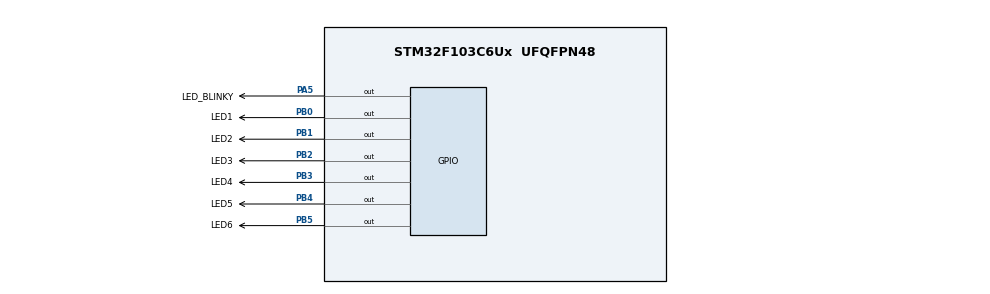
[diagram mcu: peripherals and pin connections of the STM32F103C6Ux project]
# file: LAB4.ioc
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Mcu.Family=STM32F1
Mcu.Name=STM32F103C6Ux
Mcu.Package=UFQFPN48
NVIC.PriorityGroup=NVIC_PRIORITYGROUP_4
NVIC.TIM2_IRQn=true\:0\:0\:false\:false\:true\:true\:true
PA5.GPIO_Label=LED_BLINKY
PA5.Signal=GPIO_Output
PB0.GPIO_Label=LED1
PB0.Signal=GPIO_Output
PB1.GPIO_Label=LED2
PB1.Signal=GPIO_Output
PB2.GPIO_Label=LED3
PB2.Signal=GPIO_Output
PB3.GPIO_Label=LED4
PB3.Signal=GPIO_Output
PB4.GPIO_Label=LED5
PB4.Signal=GPIO_Output
PB5.GPIO_Label=LED6
PB5.Signal=GPIO_Output
ProjectManager.HeapSize=0x200
ProjectManager.StackSize=0x400
ProjectManager.TargetToolchain=STM32CubeIDE
RCC.APB1Freq_Value=8000000
RCC.APB2Freq_Value=8000000
TIM2.Period=9
TIM2.Prescaler=7999
VP_SYS_VS_ND.Mode=No_Debug
VP_TIM2_VS_ClockSourceINT.Mode=Internal
board=custom

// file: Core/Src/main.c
/* USER CODE BEGIN Header */
/**
  ******************************************************************************
  * @file           : main.c
  * @brief          : Main program body
  ******************************************************************************
  * @attention
  *
  * <h2><center>&copy; Copyright (c) 2025 STMicroelectronics.
  * All rights reserved.</center></h2>
  *
  * This software component is licensed by ST under BSD 3-Clause license,
  * the "License"; You may not use this file except in compliance with the
  * License. You may obtain a copy of the License at:
  *                        opensource.org/licenses/BSD-3-Clause
  *
  ******************************************************************************
  */
/* USER CODE END Header */
#include "main.h"

/* USER CODE BEGIN Includes */
#include "scheduler.h"
/* USER CODE END Includes */

TIM_HandleTypeDef htim2;

void SystemClock_Config(void);
static void MX_GPIO_Init(void);
static void MX_TIM2_Init(void);

/* USER CODE BEGIN 0 */
void Task_BlinkyLED(void);
// Problem
void Task_500ms(void);
void Task_1000ms(void);
void Task_1500ms(void);
void Task_2000ms(void);
void Task_2500ms(void);
// Demonstration
void Task_Print_Time_10ms(void);
void One_Shot_Task(void);
/* USER CODE END 0 */

int main(void)
{

  /* MCU Configuration--------------------------------------------------------*/

  /* Reset of all peripherals, Initializes the Flash interface and the Systick. */
  HAL_Init();

  /* Configure the system clock */
  SystemClock_Config();

  /* Initialize all configured peripherals */
  MX_GPIO_Init();
  MX_TIM2_Init();
  /* USER CODE BEGIN 2 */
  SCH_Init();
  HAL_TIM_Base_Start_IT(&htim2);
  /* USER CODE END 2 */

  /* Infinite loop */
  /* USER CODE BEGIN WHILE */
  SCH_Add_Task(Task_BlinkyLED, 50, 50);
  SCH_Add_Task(Task_500ms, 50, 50);     // 0.5s
  SCH_Add_Task(Task_1000ms, 100, 100);  // 1.0s
  SCH_Add_Task(Task_1500ms, 150, 150);  // 1.5s
  SCH_Add_Task(Task_2000ms, 200, 200);  // 2.0s
  SCH_Add_Task(Task_2500ms, 250, 250);  // 2.5s

  SCH_Add_Task(One_Shot_Task, 300, 0);
  while (1)
  {
	  SCH_Dispatch_Tasks();
    /* USER CODE END WHILE */

  }
}

void SystemClock_Config(void)
{
  RCC_OscInitTypeDef RCC_OscInitStruct = {0};
  RCC_ClkInitTypeDef RCC_ClkInitStruct = {0};

  /** Initializes the RCC Oscillators according to the specified parameters
  * in the RCC_OscInitTypeDef structure.
  */
  RCC_OscInitStruct.OscillatorType = RCC_OSCILLATORTYPE_HSI;
  RCC_OscInitStruct.HSIState = RCC_HSI_ON;
  RCC_OscInitStruct.HSICalibrationValue = RCC_HSICALIBRATION_DEFAULT;
  RCC_OscInitStruct.PLL.PLLState = RCC_PLL_NONE;
  if (HAL_RCC_OscConfig(&RCC_OscInitStruct) != HAL_OK)
  {
    Error_Handler();
  }
  /** Initializes the CPU, AHB and APB buses clocks
  */
  RCC_ClkInitStruct.ClockType = RCC_CLOCKTYPE_HCLK|RCC_CLOCKTYPE_SYSCLK
                              |RCC_CLOCKTYPE_PCLK1|RCC_CLOCKTYPE_PCLK2;
  RCC_ClkInitStruct.SYSCLKSource = RCC_SYSCLKSOURCE_HSI;
  RCC_ClkInitStruct.AHBCLKDivider = RCC_SYSCLK_DIV1;
  RCC_ClkInitStruct.APB1CLKDivider = RCC_HCLK_DIV1;
  RCC_ClkInitStruct.APB2CLKDivider = RCC_HCLK_DIV1;

  if (HAL_RCC_ClockConfig(&RCC_ClkInitStruct, FLASH_LATENCY_0) != HAL_OK)
  {
    Error_Handler();
  }
}

static void MX_TIM2_Init(void)
{

  TIM_ClockConfigTypeDef sClockSourceConfig = {0};
  TIM_MasterConfigTypeDef sMasterConfig = {0};

  htim2.Instance = TIM2;
  htim2.Init.Prescaler = 7999;
  htim2.Init.CounterMode = TIM_COUNTERMODE_UP;
  htim2.Init.Period = 9;
  htim2.Init.ClockDivision = TIM_CLOCKDIVISION_DIV1;
  htim2.Init.AutoReloadPreload = TIM_AUTORELOAD_PRELOAD_DISABLE;
  if (HAL_TIM_Base_Init(&htim2) != HAL_OK)
  {
    Error_Handler();
  }
  sClockSourceConfig.ClockSource = TIM_CLOCKSOURCE_INTERNAL;
  if (HAL_TIM_ConfigClockSource(&htim2, &sClockSourceConfig) != HAL_OK)
  {
    Error_Handler();
  }
  sMasterConfig.MasterOutputTrigger = TIM_TRGO_RESET;
  sMasterConfig.MasterSlaveMode = TIM_MASTERSLAVEMODE_DISABLE;
  if (HAL_TIMEx_MasterConfigSynchronization(&htim2, &sMasterConfig) != HAL_OK)
  {
    Error_Handler();
  }

}

static void MX_GPIO_Init(void)
{
  GPIO_InitTypeDef GPIO_InitStruct = {0};

  /* GPIO Ports Clock Enable */
  __HAL_RCC_GPIOA_CLK_ENABLE();
  __HAL_RCC_GPIOB_CLK_ENABLE();

  /*Configure GPIO pin Output Level */
  HAL_GPIO_WritePin(LED_BLINKY_GPIO_Port, LED_BLINKY_Pin, GPIO_PIN_RESET);

  /*Configure GPIO pin Output Level */
  HAL_GPIO_WritePin(GPIOB, LED1_Pin|LED2_Pin|LED3_Pin|LED4_Pin
                          |LED5_Pin|LED6_Pin, GPIO_PIN_RESET);

  /*Configure GPIO pin : LED_BLINKY_Pin */
  GPIO_InitStruct.Pin = LED_BLINKY_Pin;
  GPIO_InitStruct.Mode = GPIO_MODE_OUTPUT_PP;
  GPIO_InitStruct.Pull = GPIO_NOPULL;
  GPIO_InitStruct.Speed = GPIO_SPEED_FREQ_LOW;
  HAL_GPIO_Init(LED_BLINKY_GPIO_Port, &GPIO_InitStruct);

  /*Configure GPIO pins : LED1_Pin LED2_Pin LED3_Pin LED4_Pin
                           LED5_Pin LED6_Pin */
  GPIO_InitStruct.Pin = LED1_Pin|LED2_Pin|LED3_Pin|LED4_Pin
                          |LED5_Pin|LED6_Pin;
  GPIO_InitStruct.Mode = GPIO_MODE_OUTPUT_PP;
  GPIO_InitStruct.Pull = GPIO_NOPULL;
  GPIO_InitStruct.Speed = GPIO_SPEED_FREQ_LOW;
  HAL_GPIO_Init(GPIOB, &GPIO_InitStruct);

}

/* USER CODE BEGIN 4 */
void HAL_TIM_PeriodElapsedCallback(TIM_HandleTypeDef *htim) {
    if (htim->Instance == TIM2) {
        SCH_Update();
    }
}
void Task_BlinkyLED(void) {
	HAL_GPIO_TogglePin(LED_BLINKY_GPIO_Port, LED_BLINKY_Pin);
}

void Task_500ms(void) {
	HAL_GPIO_TogglePin(LED1_GPIO_Port, LED1_Pin);
}

void Task_1000ms(void) {
	HAL_GPIO_TogglePin(LED2_GPIO_Port, LED2_Pin);
}

void Task_1500ms(void) {
	HAL_GPIO_TogglePin(LED3_GPIO_Port, LED3_Pin);
}

void Task_2000ms(void) {
	HAL_GPIO_TogglePin(LED4_GPIO_Port, LED4_Pin);
}

void Task_2500ms(void) {
	HAL_GPIO_TogglePin(LED5_GPIO_Port, LED5_Pin);
}

void One_Shot_Task(void) {
	HAL_GPIO_WritePin(LED6_GPIO_Port, LED6_Pin, GPIO_PIN_SET);
}
/* USER CODE END 4 */

void Error_Handler(void)
{
  __disable_irq();
  while (1)
  {
  }
}

/************************ (C) COPYRIGHT STMicroelectronics *****END OF FILE****/
